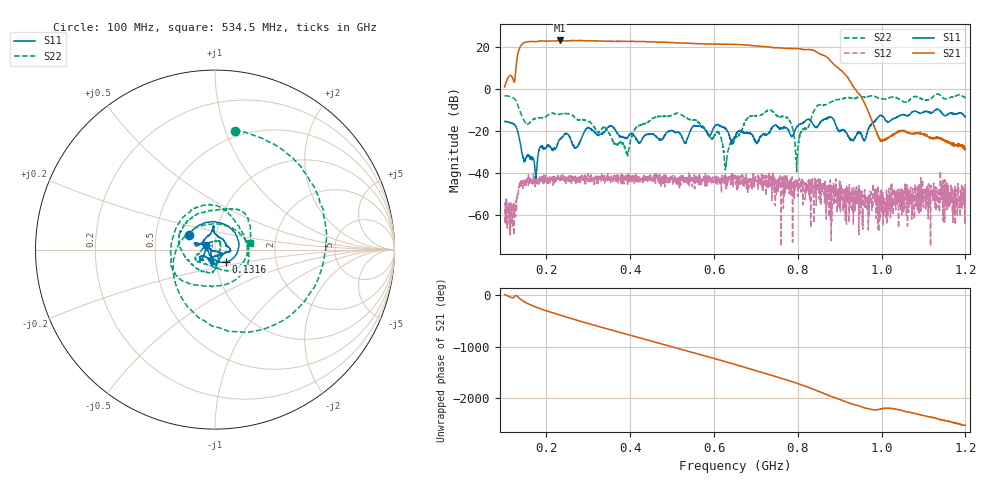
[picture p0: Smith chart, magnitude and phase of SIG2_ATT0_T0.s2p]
# Hz S DB R 50
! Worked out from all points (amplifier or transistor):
!   1601 points, 100 MHz to 1.2 GHz, reference 50 ohm
!   highest |S21| = 22.9 dB at 232 MHz (marker M1)
!   |S21| within 3 dB of that: 137.2 MHz to 728 MHz (590.8 MHz wide, 137 % of centre)
!   unconditionally stable (mu >= 1): start of sweep to end of sweep
!   at 282.9 MHz: K = 4.74, MAG = 23.0 dB, |S12| = -42.6 dB
!   at 650 MHz: K = 5.53, MAG = 21.0 dB, |S12| = -41.9 dB
!   at 1.2 GHz: K = 5771.23, MAG = -26.5 dB, |S12| = -56.9 dB
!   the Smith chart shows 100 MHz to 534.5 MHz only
!   S11 on the Smith chart (normalised r, x): 100 MHz: 0.74, +0.13; 131.6 MHz: 1.12, -0.16; 534.5 MHz: 0.90, +0.04
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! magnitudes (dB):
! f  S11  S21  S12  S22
! 100 MHz  -15.6  0.8  -60.9  -3.5
! 131.6 MHz  -20.5  16.5  -49.9  -7.9
! 145.4 MHz  -33.4  21.7  -43.9  -14.8
! 172.9 MHz  -39.7  22.4  -43.8  -14.4
! 232 MHz  -24.0  22.9  -44.4  -12.1
! 283.6 MHz  -23.6  22.8  -41.8  -14.8
! 391.5 MHz  -23.7  22.5  -43.2  -30.2
! 414.9 MHz  -24.1  22.4  -41.4  -18.3
! 467.1 MHz  -24.0  22.1  -41.6  -13.1
! 534.5 MHz  -25.0  21.6  -42.3  -14.0
! 610.8 MHz  -17.6  21.1  -43.6  -21.0
! 628 MHz  -19.1  21.1  -47.8  -36.6
! 650 MHz  -23.4  21.0  -41.9  -23.0
! 733.9 MHz  -20.3  19.7  -44.4  -10.2
! 778.6 MHz  -19.9  19.1  -49.8  -14.5
! 797.8 MHz  -18.0  19.0  -46.5  -32.5
! 833.6 MHz  -16.1  18.4  -47.9  -13.0
! 878.9 MHz  -13.6  13.0  -48.4  -6.3
! 929.1 MHz  -24.4  2.0  -48.3  -4.6
! 995.8 MHz  -12.8  -24.0  -62.5  -4.6
! 1.017 GHz  -15.8  -23.1  -47.4  -4.4
! 1.2 GHz  -13.4  -28.7  -56.9  -4.4
